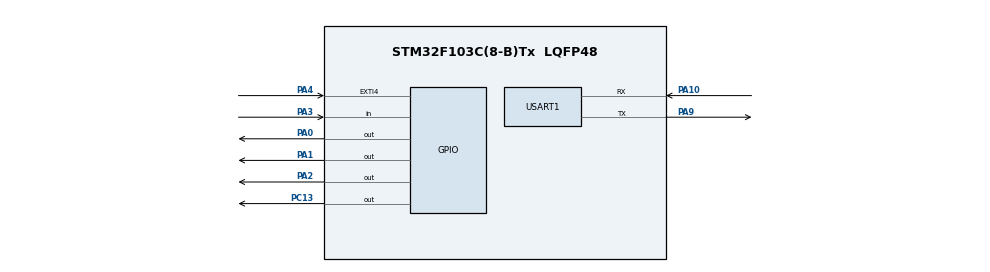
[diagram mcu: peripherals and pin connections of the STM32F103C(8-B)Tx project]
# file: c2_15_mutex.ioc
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Mcu.Family=STM32F1
Mcu.Name=STM32F103C(8-B)Tx
Mcu.Package=LQFP48
NVIC.EXTI4_IRQn=true\:0\:0\:false\:false\:true\:true\:true\:true
NVIC.PriorityGroup=NVIC_PRIORITYGROUP_4
NVIC.TIM4_IRQn=true\:15\:0\:false\:false\:true\:false\:true\:true
NVIC.TimeBase=TIM4_IRQn
NVIC.TimeBaseIP=TIM4
NVIC.USART1_IRQn=true\:6\:0\:true\:false\:true\:true\:true\:true
PA0-WKUP.Signal=GPIO_Output
PA1.Signal=GPIO_Output
PA10.Mode=Asynchronous
PA10.Signal=USART1_RX
PA2.Signal=GPIO_Output
PA3.Signal=GPIO_Input
PA4.Signal=GPXTI4
PA9.Mode=Asynchronous
PA9.Signal=USART1_TX
PC13-TAMPER-RTC.Signal=GPIO_Output
ProjectManager.HeapSize=0x200
ProjectManager.StackSize=0x400
ProjectManager.TargetToolchain=STM32CubeIDE
RCC.APB1Freq_Value=8000000
RCC.APB2Freq_Value=8000000
USART1.VirtualMode=VM_ASYNC
VP_SYS_VS_ND.Mode=No_Debug
VP_SYS_VS_tim4.Mode=TIM4
board=custom

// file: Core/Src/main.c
/* USER CODE BEGIN Header */
/**
  ******************************************************************************
  * @file           : main.c
  * @brief          : Main program body
  ******************************************************************************
  * @attention
  *
  * Copyright (c) 2025 STMicroelectronics.
  * All rights reserved.
  *
  * This software is licensed under terms that can be found in the LICENSE file
  * in the root directory of this software component.
  * If no LICENSE file comes with this software, it is provided AS-IS.
  *
  ******************************************************************************
  */
/* USER CODE END Header */
#include "main.h"

/* USER CODE BEGIN Includes */
#include "FreeRTOS.h"
#include "task.h"
//#include "queue.h"
#include "semphr.h"

/* USER CODE END Includes */

UART_HandleTypeDef huart1;

void SystemClock_Config(void);
static void MX_GPIO_Init(void);
static void MX_USART1_UART_Init(void);
/* USER CODE BEGIN PFP */
void delay(void);
void inttostr();
void periodicled_handler(void *pvparameter);
void button_handler(void *pvparameter);
void mutexgive_handler(void *pvparameter);
/* USER CODE END PFP */

/* USER CODE BEGIN 0 */
TaskHandle_t periodicled_handle,button_handle,mutexgive_handle;
//QueueHandle_t q_txBuffer ;
SemaphoreHandle_t mutex_1;

unsigned int count=0;
char stringCount[7]={'0','0','0','0','0','\n','\r'};
char task1[] ={'T','A','S','k','1',':'};
char task2[] ={'T','A','S','k','2',':'};
char task3[] ={'T','A','S','k','3',':'};
/* USER CODE END 0 */

int main(void)
{

  /* USER CODE BEGIN 1 */
	BaseType_t status;
  /* USER CODE END 1 */

  /* MCU Configuration--------------------------------------------------------*/

  /* Reset of all peripherals, Initializes the Flash interface and the Systick. */
  HAL_Init();

  /* Configure the system clock */
  SystemClock_Config();

  /* Initialize all configured peripherals */
  MX_GPIO_Init();
  MX_USART1_UART_Init();
  /* USER CODE BEGIN 2 */

  HAL_GPIO_WritePin(GPIOC, GPIO_PIN_13, 1);

  status = xTaskCreate(periodicled_handler, "periodicled_task", 200, NULL, 3, &periodicled_handle);
    configASSERT(status == pdPASS);

    status = xTaskCreate(button_handler, "button_task",200, NULL, 2, &button_handle);
    configASSERT(status == pdPASS);

    status = xTaskCreate(mutexgive_handler, "mutexgive_task",200, NULL, 1, &mutexgive_handle);
    configASSERT(status == pdPASS);

    //mutex_1 = xSemaphoreCreateBinary();
    mutex_1 = xSemaphoreCreateMutex();

    vTaskStartScheduler();
  /* USER CODE END 2 */

  /* Infinite loop */
  while (1)
  {

  }
}

void SystemClock_Config(void)
{
  RCC_OscInitTypeDef RCC_OscInitStruct = {0};
  RCC_ClkInitTypeDef RCC_ClkInitStruct = {0};

  /** Initializes the RCC Oscillators according to the specified parameters
  * in the RCC_OscInitTypeDef structure.
  */
  RCC_OscInitStruct.OscillatorType = RCC_OSCILLATORTYPE_HSI;
  RCC_OscInitStruct.HSIState = RCC_HSI_ON;
  RCC_OscInitStruct.HSICalibrationValue = RCC_HSICALIBRATION_DEFAULT;
  RCC_OscInitStruct.PLL.PLLState = RCC_PLL_NONE;
  if (HAL_RCC_OscConfig(&RCC_OscInitStruct) != HAL_OK)
  {
    Error_Handler();
  }

  /** Initializes the CPU, AHB and APB buses clocks
  */
  RCC_ClkInitStruct.ClockType = RCC_CLOCKTYPE_HCLK|RCC_CLOCKTYPE_SYSCLK
                              |RCC_CLOCKTYPE_PCLK1|RCC_CLOCKTYPE_PCLK2;
  RCC_ClkInitStruct.SYSCLKSource = RCC_SYSCLKSOURCE_HSI;
  RCC_ClkInitStruct.AHBCLKDivider = RCC_SYSCLK_DIV1;
  RCC_ClkInitStruct.APB1CLKDivider = RCC_HCLK_DIV1;
  RCC_ClkInitStruct.APB2CLKDivider = RCC_HCLK_DIV1;

  if (HAL_RCC_ClockConfig(&RCC_ClkInitStruct, FLASH_LATENCY_0) != HAL_OK)
  {
    Error_Handler();
  }
}

static void MX_USART1_UART_Init(void)
{

  huart1.Instance = USART1;
  huart1.Init.BaudRate = 115200;
  huart1.Init.WordLength = UART_WORDLENGTH_8B;
  huart1.Init.StopBits = UART_STOPBITS_1;
  huart1.Init.Parity = UART_PARITY_NONE;
  huart1.Init.Mode = UART_MODE_TX_RX;
  huart1.Init.HwFlowCtl = UART_HWCONTROL_NONE;
  huart1.Init.OverSampling = UART_OVERSAMPLING_16;
  if (HAL_UART_Init(&huart1) != HAL_OK)
  {
    Error_Handler();
  }

}

static void MX_GPIO_Init(void)
{
  GPIO_InitTypeDef GPIO_InitStruct = {0};

  /* GPIO Ports Clock Enable */
  __HAL_RCC_GPIOC_CLK_ENABLE();
  __HAL_RCC_GPIOA_CLK_ENABLE();

  /*Configure GPIO pin Output Level */
  HAL_GPIO_WritePin(GPIOC, GPIO_PIN_13, GPIO_PIN_RESET);

  /*Configure GPIO pin Output Level */
  HAL_GPIO_WritePin(GPIOA, GPIO_PIN_0|GPIO_PIN_1|GPIO_PIN_2, GPIO_PIN_RESET);

  /*Configure GPIO pin : PC13 */
  GPIO_InitStruct.Pin = GPIO_PIN_13;
  GPIO_InitStruct.Mode = GPIO_MODE_OUTPUT_PP;
  GPIO_InitStruct.Pull = GPIO_NOPULL;
  GPIO_InitStruct.Speed = GPIO_SPEED_FREQ_LOW;
  HAL_GPIO_Init(GPIOC, &GPIO_InitStruct);

  /*Configure GPIO pins : PA0 PA1 PA2 */
  GPIO_InitStruct.Pin = GPIO_PIN_0|GPIO_PIN_1|GPIO_PIN_2;
  GPIO_InitStruct.Mode = GPIO_MODE_OUTPUT_PP;
  GPIO_InitStruct.Pull = GPIO_NOPULL;
  GPIO_InitStruct.Speed = GPIO_SPEED_FREQ_LOW;
  HAL_GPIO_Init(GPIOA, &GPIO_InitStruct);

  /*Configure GPIO pin : PA3 */
  GPIO_InitStruct.Pin = GPIO_PIN_3;
  GPIO_InitStruct.Mode = GPIO_MODE_INPUT;
  GPIO_InitStruct.Pull = GPIO_NOPULL;
  HAL_GPIO_Init(GPIOA, &GPIO_InitStruct);

  /*Configure GPIO pin : PA4 */
  GPIO_InitStruct.Pin = GPIO_PIN_4;
  GPIO_InitStruct.Mode = GPIO_MODE_IT_RISING;
  GPIO_InitStruct.Pull = GPIO_NOPULL;
  HAL_GPIO_Init(GPIOA, &GPIO_InitStruct);

  /* EXTI interrupt init*/
  HAL_NVIC_SetPriority(EXTI4_IRQn, 0, 0);
  HAL_NVIC_EnableIRQ(EXTI4_IRQn);

}

/* USER CODE BEGIN 4 */
void delay(void){
	int i=0,j=0;
	for(i=0;i<1000;i++){
		for(j=0;j<10;j++);
	}
}

void inttostr(){
	unsigned int num = count;
	while(num){
		stringCount[0]=num%10+0x30;
		stringCount[1]=(num/10)%10+0x30;
		stringCount[2]=(num/100)%10+0x30;
		stringCount[3]=(num/1000)%10+0x30;
		stringCount[4]=(num/10000)%10+0x30;
	}
}
void periodicled_handler(void *pvparameter)
{

	while(1){

		xSemaphoreTake(mutex_1,portMAX_DELAY);

		count++;
		HAL_GPIO_TogglePin(GPIOA, GPIO_PIN_0);
		HAL_UART_Transmit(&huart1, task1, 6, 100);
		HAL_UART_Transmit(&huart1, stringCount, 7, 100);

		xSemaphoreGive(mutex_1);

	}
}

void button_handler(void *pvparameter)
{
	uint8_t *data =(uint8_t*) pvparameter ;
	while(1){
		while(HAL_GPIO_ReadPin(GPIOA, GPIO_PIN_3)==1){
			HAL_GPIO_WritePin(GPIOC, GPIO_PIN_13, 0);
			xSemaphoreTake(mutex_1,portMAX_DELAY);
			count++;
			inttostr();
			HAL_UART_Transmit(&huart1, task2, 6, 100);
			HAL_UART_Transmit(&huart1, stringCount, 7, 100);
			delay();
		}
		xSemaphoreGive(mutex_1);
		HAL_GPIO_WritePin(GPIOC, GPIO_PIN_13, 1);
		vTaskDelay(pdMS_TO_TICKS(200));
		//xSemaphoreGive(s_work);
	}

}

void mutexgive_handler(void *pvparameter)
{
	uint8_t *data =(uint8_t*) pvparameter ;
	while(1){

		xSemaphoreTake(mutex_1,portMAX_DELAY);
		count++;
		inttostr();
		HAL_UART_Transmit(&huart1, task3, 6, 100);
		HAL_UART_Transmit(&huart1, stringCount, 7, 100);
		xSemaphoreGive(mutex_1);

		vTaskDelay(pdMS_TO_TICKS(1000));
		//xSemaphoreGive(s_work);
	}
}
/* USER CODE END 4 */

void HAL_TIM_PeriodElapsedCallback(TIM_HandleTypeDef *htim)
{
  if (htim->Instance == TIM4)
  {
    HAL_IncTick();
  }
}

void Error_Handler(void)
{
  __disable_irq();
  while (1)
  {
  }
}
